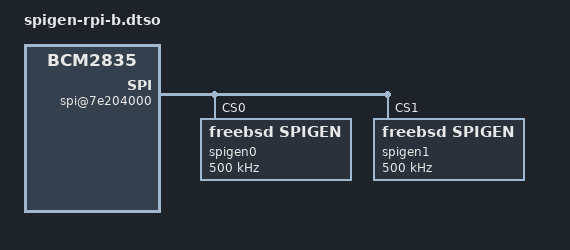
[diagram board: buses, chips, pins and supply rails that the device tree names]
/* $FreeBSD$ */

/dts-v1/;
/plugin/;

/ {
	compatible = "brcm,bcm2835";
};

&{/soc/spi@7e204000} {
	status = "okay";

	spigen0: spigen0 {
		compatible = "freebsd,spigen";
		reg = <0>;
		spi-max-frequency = <500000>; /* Req'd property, override with spi(8) */
		status = "okay";
	};
	spigen1: spigen1 {
		compatible = "freebsd,spigen";
		reg = <1>;
		spi-max-frequency = <500000>; /* Req'd property, override with spi(8) */
		status = "okay";
	};
};

&{/soc/gpio@7e200000/spi0_cs_pins} {
	brcm,pins = <8 7>;
	brcm,function = <4>; /* ALT0 */
};

